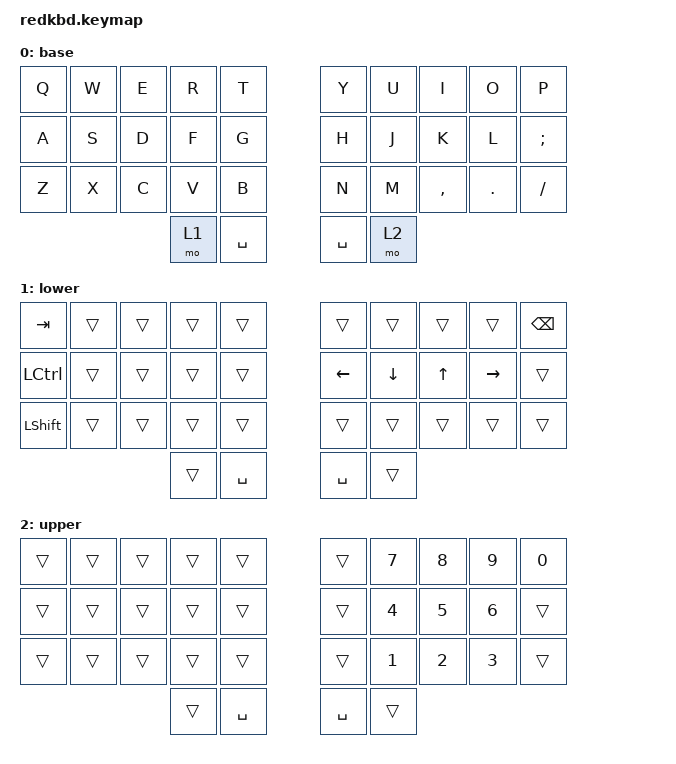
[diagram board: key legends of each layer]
#include <behaviors.dtsi>
#include <dt-bindings/zmk/keys.h>
#include <dt-bindings/zmk/bt.h>
#include <dt-bindings/zmk/outputs.h>

/ {
    keymap {
        compatible = "zmk,keymap";

        default_layer {
            label = "base";
            // -------------------------------------------------------------------------------------------------------------------------
            // |     Q     |     W     |     E     |     R     |     T     |     Y     |     U     |     I     |     O     |     P     |
            // |     A     |     S     |     D     |     F     |     G     |     H     |     J     |     K     |     L     |     ;     |
            // |     Z     |     X     |     C     |     V     |     B     |     N     |     M     |     ,     |     .     |     /     |
            //                                     |    DOWN   |    RET    |    SPC    |    UP     |
            bindings = <
                &kp Q     &kp W     &kp E     &kp R     &kp T     &kp Y     &kp U     &kp I     &kp O     &kp P
                &kp A     &kp S     &kp D     &kp F     &kp G     &kp H     &kp J     &kp K     &kp L     &kp SEMI
                &kp Z     &kp X     &kp C     &kp V     &kp B     &kp N     &kp M     &kp COMMA &kp DOT   &kp FSLH
                                              &mo 1     &kp SPACE &kp SPACE &mo 2
            >;
        };

        lower_layer {
            label = "lower";
            // -------------------------------------------------------------------------------------------------------------------------
            // |    TAB    |           |           |           |           |           |           |           |           |    BSPC   |
            // |    CTRL   |           |           |           |           |           |           |           |           |           |
            // |    SHFT   |           |           |           |           |           |           |           |           |           |
            //                                     |           |    RET    |    SPC    |           |
            bindings = <
                &kp TAB   &trans    &trans    &trans    &trans    &trans    &trans    &trans    &trans    &kp BSPC
                &kp LCTRL &trans    &trans    &trans    &trans    &kp LEFT  &kp DOWN  &kp UP    &kp RIGHT &trans
                &kp LSHIFT &trans    &trans    &trans    &trans    &trans    &trans    &trans    &trans    &trans
                                              &trans    &kp SPACE &kp SPACE &trans
            >;
        };

        raise_layer {
            label = "upper";
            // -------------------------------------------------------------------------------------------------------------------------
            // |           |           |           |           |           |           |     7     |     8     |     9     |     0     |
            // |           |           |           |           |           |           |     4     |     5     |     6     |           |
            // |           |           |           |           |           |           |     1     |     2     |     3     |           |
            //                                     |           |    RET    |    SPC    |           |
            bindings = <
                &trans    &trans    &trans    &trans    &trans    &trans    &kp N7    &kp N8    &kp N9    &kp N0
                &trans    &trans    &trans    &trans    &trans    &trans    &kp N4    &kp N5    &kp N6    &trans
                &trans    &trans    &trans    &trans    &trans    &trans    &kp N1    &kp N2    &kp N3    &trans
                                              &trans    &kp SPACE &kp SPACE &trans
            >;
        };
    };
 };
